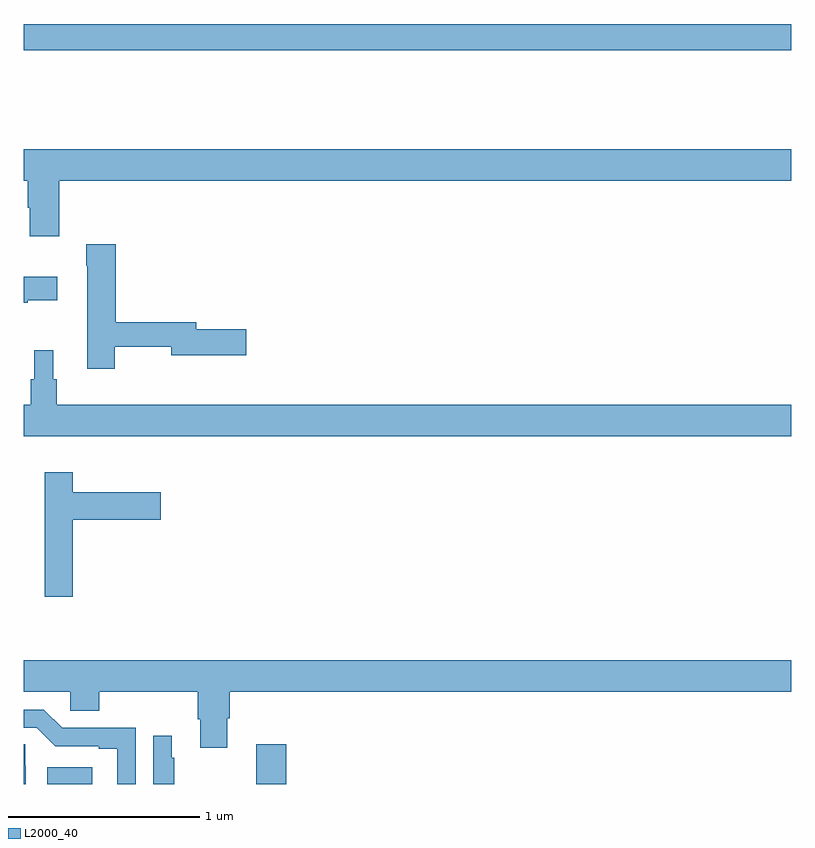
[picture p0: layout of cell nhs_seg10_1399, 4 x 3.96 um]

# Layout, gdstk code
import gdstk
lib = gdstk.Library(unit=1e-6, precision=1e-09)
def R(c, l, rs):  # rectangles x0, y0, x1, y1
    for r in rs: c.add(gdstk.rectangle(r[:2], r[2:], *l))
def P(c, l, *ps):  # polygons
    for p in ps: c.add(gdstk.Polygon(p, *l))
L2000_40 = (2000, 40)

nhs_seg10_1399 = lib.new_cell('nhs_seg10_1399')
R(nhs_seg10_1399, L2000_40, [(183.122,1302.5,183.358,1302.586), (184.213,1302.5,184.367,1302.706), (183,1306.324,187,1306.46)])
P(nhs_seg10_1399, L2000_40, [(183.185,1305.644),(187,1305.644),(187,1305.808),(183,1305.808),(183,1305.644),(183.02,1305.644),(183.02,1305.502),(183.032,1305.502),(183.032,1305.354),(183.185,1305.354)],
  [(183.474,1304.778),(183.77,1304.778),(183.77,1304.735),(184.159,1304.735),(184.159,1304.87),(183.898,1304.87),(183.898,1304.906),(183.479,1304.906),(183.479,1305.313),(183.325,1305.313),(183.325,1305.2),(183.332,1305.2),(183.332,1304.664),(183.474,1304.664)],
  [(183.021,1305.02),(183.175,1305.02),(183.175,1305.142),(183,1305.142),(183,1305.008),(183.021,1305.008)],
  [(187,1304.476),(183.173,1304.476),(183.173,1304.61),(183.154,1304.61),(183.154,1304.761),(183.056,1304.761),(183.056,1304.61),(183.037,1304.61),(183.037,1304.476),(183,1304.476),(183,1304.312),(187,1304.312)],
  [(183.257,1303.877),(183.715,1303.877),(183.715,1304.019),(183.257,1304.019),(183.257,1304.125),(183.11,1304.125),(183.11,1303.476),(183.257,1303.476)],
  [(184.06,1302.843),(184.073,1302.843),(184.073,1302.98),(187,1302.98),(187,1303.144),(183,1303.144),(183,1302.98),(183.243,1302.98),(183.243,1302.882),(183.395,1302.882),(183.395,1302.98),(183.908,1302.98),(183.908,1302.838),(183.92,1302.838),(183.92,1302.69),(184.06,1302.69)],
  [(183.585,1302.792),(183.201,1302.792),(183.105,1302.888),(183,1302.888),(183,1302.792),(183.069,1302.792),(183.165,1302.696),(183.392,1302.696),(183.392,1302.684),(183.488,1302.684),(183.488,1302.5),(183.585,1302.5)],
  [(183.784,1302.638),(183.772,1302.638),(183.772,1302.751),(183.675,1302.751),(183.675,1302.5),(183.784,1302.5)],
  [(183.01,1302.596),(183.009,1302.596),(183.009,1302.707),(183,1302.707),(183,1302.5),(183.01,1302.5)])

lib.write_gds('nhs_seg10_1399.gds')
